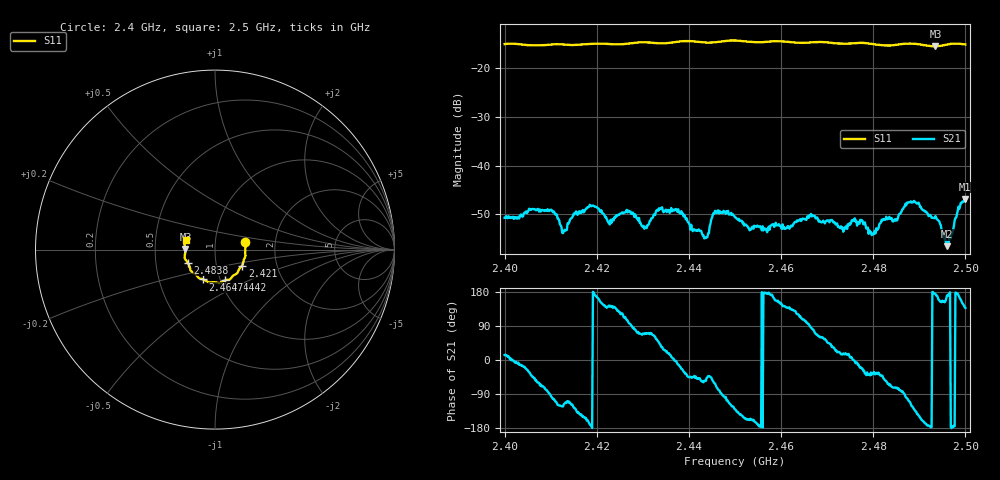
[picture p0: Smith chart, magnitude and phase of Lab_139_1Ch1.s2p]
# Hz S RI R 50
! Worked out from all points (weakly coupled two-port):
!   601 points, 2.4 GHz to 2.5 GHz, reference 50 ohm
!   highest |S21| = -46.85 dB at 2.4998 GHz (marker M1); lowest = -56.5 dB at 2.496 GHz (marker M2)
!   lowest |S11| = -15.7 dB at 2.4935 GHz (marker M3), VSWR 1.40, Z = 35.8 + j0.19 ohm
!   |S11| at or under -10 dB: start of sweep to end of sweep
!   S12 and S22 are empty: the file has one direction only
!   S11 on the Smith chart (normalised r, x): 2.4 GHz: 1.40, +0.12; 2.421 GHz: 1.33, -0.24; 2.4442 GHz: 1.05, -0.37; 2.4647 GHz: 0.83, -0.28; 2.4838 GHz: 0.73, -0.11; 2.5 GHz: 0.71, +0.08
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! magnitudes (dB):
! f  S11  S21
! 2.4 GHz  -15.2  -50.7
! 2.4098 GHz  -15.3  -49.0
! 2.413 GHz  -15.3  -53.1
! 2.4167 GHz  -15.3  -49.7
! 2.421 GHz  -15.1  -49.1
! 2.4268 GHz  -15.1  -49.2
! 2.4303 GHz  -14.8  -52.9
! 2.4333 GHz  -15.0  -49.2
! 2.4442 GHz  -14.9  -53.9
! 2.4458 GHz  -14.8  -49.4
! 2.45 GHz  -14.5  -50.6
! 2.4567 GHz  -14.7  -52.9
! 2.4647 GHz  -14.9  -50.8
! 2.4667 GHz  -14.8  -50.4
! 2.48 GHz  -15.2  -53.9
! 2.4833 GHz  -15.5  -50.8
! 2.4838 GHz  -15.5  -50.9
! 2.4885 GHz  -15.1  -47.5
! 2.4935 GHz  -15.7  -50.3
! 2.496 GHz  -15.3  -56.5
! 2.4998 GHz  -15.3  -46.9
! 2.5 GHz  -15.3  -47.3
